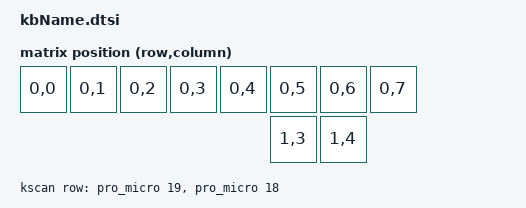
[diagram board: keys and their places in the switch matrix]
#include <dt-bindings/zmk/matrix_transform.h> 

/ {
    kscan: kscan {
        compatible = "zmk,kscan-gpio-matrix";
        diode-direction = "col2row";
        //col-gpios defined per side in overlay files
        //row-gpios are in this case defined across the boards
        row-gpios
	    = <&pro_micro 19 (GPIO_ACTIVE_HIGH | GPIO_PULL_DOWN)>
	    , <&pro_micro 18 (GPIO_ACTIVE_HIGH | GPIO_PULL_DOWN)>
	    ;
    };
    
    default_transform: matrix_transform {
        compatible = "zmk,matrix-transform";
        columns = <8>;
        rows = <2>;
        map = <
            RC(0,0) RC(0,1) RC(0,2) RC(0,3)    RC(0,4) RC(0,5) RC(0,6) RC(0,7) 
                                                     RC(1,3)    RC(1,4)
        >;
    };
    
    physical_layout: physical_layout { 
        compatible = "zmk,physical-layout";
        display-name = "Default Layout";
        transform = <&default_transform>; 
    };
    
    
    chosen {
        zmk,kscan = &kscan;
        zmk,physical-layout = &physical_layout;
    };
};
